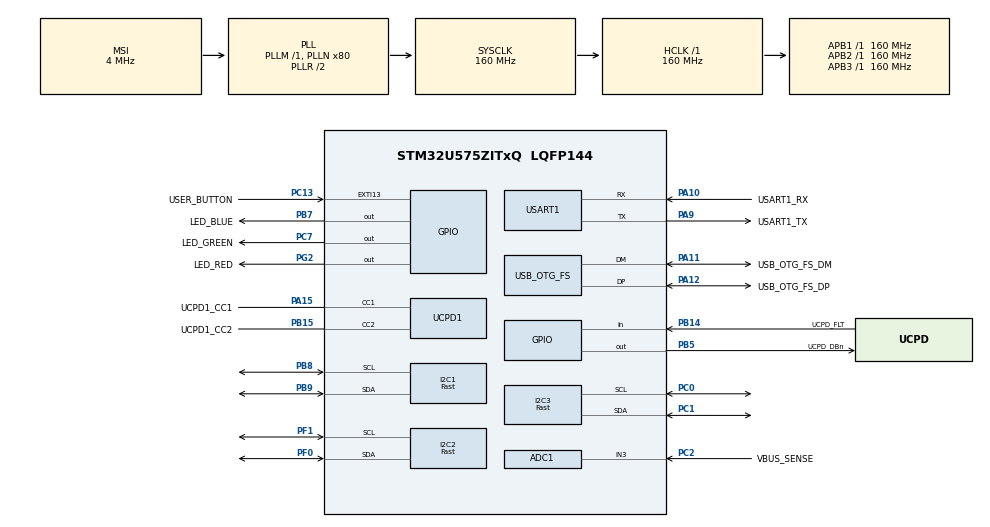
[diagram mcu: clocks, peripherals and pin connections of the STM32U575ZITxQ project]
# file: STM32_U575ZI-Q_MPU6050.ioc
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ADC1.NbrOfConversion=1
ADC1.Resolution=ADC_RESOLUTION_14B
ADC1.master=1
CORTEX_M33_NS.AccessPermission-Cortex_Memory_Protection_Unit_Region0_Settings=MPU_REGION_ALL_RW
CORTEX_M33_NS.AttributesIndex-Cortex_Memory_Protection_Unit_Region0_Settings=MPU_ATTRIBUTES_NUMBER1
CORTEX_M33_NS.BaseAddress-Cortex_Memory_Protection_Unit_Region0_Settings=0x28000000
CORTEX_M33_NS.DisableExec-Cortex_Memory_Protection_Unit_Region0_Settings=MPU_INSTRUCTION_ACCESS_DISABLE
CORTEX_M33_NS.Enable-Cortex_Memory_Protection_Unit_Region0_Settings=MPU_REGION_ENABLE
CORTEX_M33_NS.LimitAddress-Cortex_Memory_Protection_Unit_Region0_Settings=0x28003fff
CORTEX_M33_NS.MPU_Control=MPU_PRIVILEGED_DEFAULT
CORTEX_M33_NS.userName=CORTEX_M33
GPDMA1.DESTINC_GPDMACH0=DMA_DINC_INCREMENTED
GPDMA1.DESTINC_GPDMACH1=DMA_DINC_INCREMENTED
GPDMA1.DESTINC_GPDMACH2=DMA_DINC_INCREMENTED
GPDMA1.IPHANDLE_GPDMACH0-SIMPLEREQUEST_GPDMACH0=__NULL
GPDMA1.IPHANDLE_GPDMACH1-SIMPLEREQUEST_GPDMACH1=__NULL
GPDMA1.IPHANDLE_GPDMACH2-SIMPLEREQUEST_GPDMACH2=__NULL
GPDMA1.REQUEST_GPDMACH0=GPDMA1_REQUEST_I2C2_RX
GPDMA1.REQUEST_GPDMACH1=GPDMA1_REQUEST_I2C3_RX
GPDMA1.REQUEST_GPDMACH2=GPDMA1_REQUEST_I2C1_RX
I2C1.I2C_Speed_Mode=I2C_Fast
I2C1.Timing=0x00F07BFF
I2C2.I2C_Speed_Mode=I2C_Fast
I2C2.Timing=0x00F07BFF
I2C3.I2C_Speed_Mode=I2C_Fast
I2C3.Timing=0x00F07BFF
Mcu.Family=STM32U5
Mcu.Name=STM32U575ZITxQ
Mcu.Package=LQFP144
NVIC.GPDMA1_Channel0_IRQn=true\:0\:0\:false\:false\:true\:false\:true\:true
NVIC.GPDMA1_Channel1_IRQn=true\:0\:0\:false\:false\:true\:false\:true\:true
NVIC.GPDMA1_Channel2_IRQn=true\:0\:0\:false\:false\:true\:false\:true\:true
NVIC.I2C1_EV_IRQn=true\:0\:0\:false\:false\:true\:true\:true\:true
NVIC.I2C2_EV_IRQn=true\:0\:0\:false\:false\:true\:true\:true\:true
NVIC.I2C3_EV_IRQn=true\:0\:0\:false\:false\:true\:true\:true\:true
NVIC.OTG_FS_IRQn=true\:0\:0\:false\:false\:true\:true\:true\:true
NVIC.PriorityGroup=NVIC_PRIORITYGROUP_3
NVIC.TIM1_UP_IRQn=true\:0\:0\:false\:false\:true\:true\:true\:true
PA10.GPIO_Label=USART1_RX
PA10.GPIO_PuPd=GPIO_PULLDOWN
PA10.GPIO_Speed=GPIO_SPEED_FREQ_VERY_HIGH
PA10.Mode=Asynchronous
PA10.Signal=USART1_RX
PA11.GPIO_Label=USB_OTG_FS_DM
PA11.GPIO_Speed=GPIO_SPEED_FREQ_VERY_HIGH
PA11.Mode=Device_Only
PA11.Signal=USB_OTG_FS_DM
PA12.GPIO_Label=USB_OTG_FS_DP
PA12.GPIO_Speed=GPIO_SPEED_FREQ_VERY_HIGH
PA12.Mode=Device_Only
PA12.Signal=USB_OTG_FS_DP
PA13\ (JTMS/SWDIO).Mode=Trace_Asynchronous_SW
PA13\ (JTMS/SWDIO).Signal=DEBUG_JTMS-SWDIO
PA14\ (JTCK/SWCLK).Mode=Trace_Asynchronous_SW
PA14\ (JTCK/SWCLK).Signal=DEBUG_JTCK-SWCLK
PA15\ (JTDI).GPIO_Label=UCPD1_CC1
PA15\ (JTDI).Mode=Sink_AllSignals
PA15\ (JTDI).Signal=UCPD1_CC1
PA9.GPIO_Label=USART1_TX
PA9.GPIO_PuPd=GPIO_PULLDOWN
PA9.GPIO_Speed=GPIO_SPEED_FREQ_VERY_HIGH
PA9.Mode=Asynchronous
PA9.Signal=USART1_TX
PB14.GPIO_Label=UCPD_FLT
PB14.Signal=GPIO_Input
PB15.GPIO_Label=UCPD1_CC2
PB15.Mode=Sink_AllSignals
PB15.Signal=UCPD1_CC2
PB3\ (JTDO/TRACESWO).Mode=Trace_Asynchronous_SW
PB3\ (JTDO/TRACESWO).Signal=DEBUG_JTDO-SWO
PB5.GPIO_Label=UCPD_DBn
PB5.Signal=GPIO_Output
PB7.GPIO_Label=LED_BLUE
PB7.GPIO_ModeDefaultOutputPP=GPIO_MODE_OUTPUT_PP
PB7.GPIO_PuPd=GPIO_PULLUP
PB7.GPIO_Speed=GPIO_SPEED_FREQ_HIGH
PB7.Signal=GPIO_Output
PB8.Mode=I2C
PB8.Signal=I2C1_SCL
PB9.Mode=I2C
PB9.Signal=I2C1_SDA
PC0.Mode=I2C
PC0.Signal=I2C3_SCL
PC1.Mode=I2C
PC1.Signal=I2C3_SDA
PC13.GPIO_Label=USER_BUTTON
PC13.GPIO_ModeDefaultEXTI=GPIO_MODE_IT_FALLING
PC13.Signal=GPXTI13
PC14-OSC32_IN\ (PC14).Mode=LSE-External-Oscillator
PC14-OSC32_IN\ (PC14).Signal=RCC_OSC32_IN
PC15-OSC32_OUT\ (PC15).Mode=LSE-External-Oscillator
PC15-OSC32_OUT\ (PC15).Signal=RCC_OSC32_OUT
PC2.GPIO_Label=VBUS_SENSE
PC2.Mode=IN3-Single-Ended
PC2.Signal=ADC1_IN3
PC7.GPIO_Label=LED_GREEN
PC7.GPIO_PuPd=GPIO_PULLUP
PC7.GPIO_Speed=GPIO_SPEED_FREQ_HIGH
PC7.Signal=GPIO_Output
PF0.Mode=I2C
PF0.Signal=I2C2_SDA
PF1.Mode=I2C
PF1.Signal=I2C2_SCL
PG2.GPIO_Label=LED_RED
PG2.GPIO_ModeDefaultOutputPP=GPIO_MODE_OUTPUT_PP
PG2.GPIO_PuPd=GPIO_PULLUP
PG2.GPIO_Speed=GPIO_SPEED_FREQ_HIGH
PG2.Signal=GPIO_Output
PWR.PowerMode=PWR_SMPS_SUPPLY
ProjectManager.HeapSize=0x200
ProjectManager.StackSize=0x400
ProjectManager.TargetToolchain=STM32CubeIDE
RCC.ADCFreq_Value=16000000
RCC.AHBFreq_Value=160000000
RCC.APB1Freq_Value=160000000
RCC.APB1TimFreq_Value=160000000
RCC.APB2Freq_Value=160000000
RCC.APB2TimFreq_Value=160000000
RCC.APB3Freq_Value=160000000
RCC.CortexFreq_Value=160000000
RCC.DACCLockSelectionVirtual=RCC_DAC1CLKSOURCE_LSI
RCC.EPOD_VALUE=4000000
RCC.HCLKFreq_Value=160000000
RCC.HSE_VALUE=16000000
RCC.HSI48_VALUE=48000000
RCC.HSI_VALUE=16000000
RCC.LSIDIV_VALUE=32000
RCC.MSI_VALUE=4000000
RCC.PLLN=80
RCC.SYSCLKFreq_VALUE=160000000
RCC.SYSCLKSource=RCC_SYSCLKSOURCE_PLLCLK
RCC.USBFreq_Value=48000000
RCC.VCOOutputFreq_Value=320000000
TIM1.PeriodNoDither=1000-1
TIM1.Prescaler=160-1
USART1.VirtualMode-Asynchronous=VM_ASYNC
USB_OTG_FS.VirtualMode=Device_Only
VP_DCACHE1_VS_DCACHE.Mode=DCACHE_Activate
VP_FLASH_SIG_Activate_FlashIP.Mode=Activate_FlashIP
VP_GPDMA1_VS_GPDMACH0.Mode=SIMPLEREQUEST_GPDMACH0
VP_GPDMA1_VS_GPDMACH1.Mode=SIMPLEREQUEST_GPDMACH1
VP_GPDMA1_VS_GPDMACH2.Mode=SIMPLEREQUEST_GPDMACH2
VP_ICACHE_VS_ENABLE_ICACHE_MEMORY.Mode=Memoryregions
VP_ICACHE_VS_ICACHE.Mode=DirectMappedCache
VP_LPBAMQUEUE_VS_QUEUE.Mode=QUEUEMODE
VP_LPBAM_VS_SIG1.Mode=SmartRun
VP_LPBAM_VS_SIG4.Mode=LPDMA1
VP_MEMORYMAP_VS_MEMORYMAP.Mode=CurAppReg
VP_PWR_VS_DBSignals.Mode=DisableDeadBatterySignals
VP_PWR_VS_LPOM.Mode=PowerOptimisation
VP_PWR_VS_SECSignals.Mode=Security/Privilege
VP_PWR_Vdda.Mode=isolationVdda
VP_TIM1_VS_ClockSourceINT.Mode=Internal
board=NUCLEO-U575ZI-Q

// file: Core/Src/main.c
/* USER CODE BEGIN Header */
/**
  ******************************************************************************
  * @file           : main.c
  * @brief          : Main program body
  ******************************************************************************
  * @attention
  *
  * Copyright (c) 2024 STMicroelectronics.
  * All rights reserved.
  *
  * This software is licensed under terms that can be found in the LICENSE file
  * in the root directory of this software component.
  * If no LICENSE file comes with this software, it is provided AS-IS.
  *
  ******************************************************************************
  */
/* USER CODE END Header */
#include "main.h"
#include "adc.h"
#include "dcache.h"
#include "flash.h"
#include "gpdma.h"
#include "i2c.h"
#include "icache.h"
#include "memorymap.h"
#include "tim.h"
#include "ucpd.h"
#include "usart.h"
#include "usb_otg.h"
#include "gpio.h"

/* USER CODE BEGIN Includes */
#include "ioif_mpu6050.h"
#include "ioif_mpu6050_second.h"
#include "imu_algorithms.h"

#include "ioif_bmp280.h"
//#include "ioif_vl53l0x.h"

#include "VL53L0X.h"
/* USER CODE END Includes */

void SystemClock_Config(void);
static void SystemPower_Config(void);
static void MPU_Config(void);
/* USER CODE BEGIN PFP */

static void InitValueSetting(IMU_FuzzyData_t* imuFuzzyData, IMU_NormData_t* imuNormData, IMU_GaitData_t* imuGaitData, IMU_ThresData_t* imuThresData);
static void SetInitialAngle(IMU_AngleData_t* imuAngleData, IMU_NormData_t* imuNormData, float initialAngle);
static void GetInitialAngle_IMU(IOIF_6AxisData_t* imu6AxisData, IMU_SensorData_t* imuSensorData, IMU_AngleData_t* imuAngleData, IMU_NormData_t* imuNormData, IMU_AttachCase_t imuAttachCase);
static void GetInitialAngle_IMU2(IOIF_6AxisData2_t* imu6AxisData, IMU_SensorData_t* imuSensorData, IMU_AngleData_t* imuAngleData, IMU_NormData_t* imuNormData, IMU_AttachCase_t imuAttachCase);
static void ResetDataObj(void);
static void UpdateSensorRawData(IMU_SensorData_t* imuSensorData, IOIF_6AxisData_t* imu6AxisData, IMU_AttachCase_t imuAttachCase);
static void UpdateSensorRawData2(IMU_SensorData_t* imuSensorData, IOIF_6AxisData2_t* imu6AxisData, IMU_AttachCase_t imuAttachCase);
static void RunTvcfFilter(IMU_SensorData_t* imuSensorData, IMU_AngleData_t* imuAngleData, IMU_FuzzyData_t* imuFuzzyData, float samplingPeriod, IMU_AttachCase_t imuAttachCase);
static void SetUsedDegVel(IMU_AngleData_t* imuAngleData);
static int RunIMU(void);
static int RunTotalIMUAlgorithm(void);

/* USER CODE END PFP */

/* USER CODE BEGIN 0 */
IOIF_6AxisData_t 	mpu6050DataObj1;
IOIF_6AxisData2_t 	mpu6050DataObj2;

uint32_t codeTime = 0;				// microSecond

uint8_t err1 = 0;
uint8_t err2 = 0;
uint32_t errSum1 = 0;
uint32_t errSum2 = 0;
uint16_t msTime = 0;
uint32_t totalElapsedTime = 0;		// Second

/* For IMU Algorithms */
// For 1st IMU - I2C2 //
IMU_GaitData_t		imuGaitDataObj1;
IMU_AngleData_t 	imuAngleDataObj1;

static IMU_AttachCase_t ATTACH_CASE_SEL_1;

static IMU_SensorData_t 	imuSensorDataObj1;
static IMU_FuzzyData_t		imuFuzzyDataObj1;
static IMU_NormData_t 		imuNormDataObj1;
static IMU_ThresData_t		imuThresDataObj1;

static float wcDebug1 = 0.0;

static uint32_t breakRT = 0;
// For 2nd IMU - I2C3 //
IMU_GaitData_t		imuGaitDataObj2;
IMU_AngleData_t 	imuAngleDataObj2;

static IMU_AttachCase_t ATTACH_CASE_SEL_2;

static IMU_SensorData_t 	imuSensorDataObj2;
static IMU_FuzzyData_t		imuFuzzyDataObj2;
static IMU_NormData_t 		imuNormDataObj2;
static IMU_ThresData_t		imuThresDataObj2;

static float wcDebug2 = 0.0;

/* For BPS */
IOIF_BPSData_t bmp280DataObj;

/* For TOF */
//IOIF_TOFData_t vl53l0xDataObj;
uint16_t distance;

/* USER CODE END 0 */

int main(void)
{

  /* MCU Configuration--------------------------------------------------------*/

  /* Reset of all peripherals, Initializes the Flash interface and the Systick. */
   HAL_Init();

  /* MPU Configuration--------------------------------------------------------*/
  MPU_Config();

  /* Configure the system clock */
  SystemClock_Config();

  /* Configure the System Power */
  SystemPower_Config();

  /* Initialize all configured peripherals */
  MX_GPIO_Init();
  MX_GPDMA1_Init();
  MX_ICACHE_Init();
  MX_UCPD1_Init();
  MX_ADC1_Init();
  MX_USB_OTG_FS_PCD_Init();
  MX_DCACHE1_Init();
  MX_FLASH_Init();
  MX_I2C2_Init();
  MX_TIM1_Init();
  MX_USART1_UART_Init();
  MX_I2C3_Init();
  MX_I2C1_Init();
  /* USER CODE BEGIN 2 */

  CoreDebug->DEMCR &= ~CoreDebug_DEMCR_TRCENA_Msk;
  CoreDebug->DEMCR |= CoreDebug_DEMCR_TRCENA_Msk;
  DWT->CTRL &= ~DWT_CTRL_CYCCNTENA_Msk;
  DWT->CTRL |= DWT_CTRL_CYCCNTENA_Msk;
  DWT->CYCCNT = 0;

  /* Initialize the IMUs */
//  IOIF_Init6Axis(&hi2c2);
//  IOIF_Init6Axis2(&hi2c3);
//
//  /* For IMU Algorithms */
//  /* Initial Setting for the IMU */
//  ATTACH_CASE_SEL_1 = IMU_LEFT_SAGITAL;
//  ATTACH_CASE_SEL_2 = IMU_LEFT_SAGITAL;
//
//  /* Reset and Initial setting */
//  ResetDataObj();
//  InitValueSetting(&imuFuzzyDataObj1, &imuNormDataObj1, &imuGaitDataObj1, &imuThresDataObj1);
//  InitValueSetting(&imuFuzzyDataObj2, &imuNormDataObj2, &imuGaitDataObj2, &imuThresDataObj2);
//
//  /* Get initial angle at Standing state */
//  GetInitialAngle_IMU(&mpu6050DataObj1, &imuSensorDataObj1, &imuAngleDataObj1, &imuNormDataObj1, ATTACH_CASE_SEL_1);
//  GetInitialAngle_IMU2(&mpu6050DataObj2, &imuSensorDataObj2, &imuAngleDataObj2, &imuNormDataObj2, ATTACH_CASE_SEL_2);
  /* ------------------------------------------------------------------------------------------------------------------ */

  /* Initialize the BPS */
//  IOIF_InitBPS(&hi2c1);

  /* Initialize the TOF */
//  IOIF_InitTOF(&hi2c1);

  /* Using Open Source of TOF */
/*
   // Initialise the VL53L0X
   statInfo_t_VL53L0X distanceStr;
   initVL53L0X(1, &hi2c1);

	// Configure the sensor
	setSignalRateLimit(200);
	setVcselPulsePeriod(VcselPeriodPreRange, 10);
	setVcselPulsePeriod(VcselPeriodFinalRange, 14);
	setMeasurementTimingBudget(300 * 1000UL);
*/

  /* Start the TIMER INTERRUPT */
  HAL_TIM_Base_Start_IT(&htim1);

  /* USER CODE END 2 */

  /* Infinite loop */
  /* USER CODE BEGIN WHILE */
  while (1)
  {
//		distance = readRangeSingleMillimeters(&distanceStr);
    /* USER CODE END WHILE */

  }
}

void SystemClock_Config(void)
{
  RCC_OscInitTypeDef RCC_OscInitStruct = {0};
  RCC_ClkInitTypeDef RCC_ClkInitStruct = {0};

  /** Configure the main internal regulator output voltage
  */
  if (HAL_PWREx_ControlVoltageScaling(PWR_REGULATOR_VOLTAGE_SCALE1) != HAL_OK)
  {
    Error_Handler();
  }

  /** Initializes the CPU, AHB and APB buses clocks
  */
  RCC_OscInitStruct.OscillatorType = RCC_OSCILLATORTYPE_HSI48|RCC_OSCILLATORTYPE_HSI
                              |RCC_OSCILLATORTYPE_MSI;
  RCC_OscInitStruct.HSIState = RCC_HSI_ON;
  RCC_OscInitStruct.HSI48State = RCC_HSI48_ON;
  RCC_OscInitStruct.HSICalibrationValue = RCC_HSICALIBRATION_DEFAULT;
  RCC_OscInitStruct.MSIState = RCC_MSI_ON;
  RCC_OscInitStruct.MSICalibrationValue = RCC_MSICALIBRATION_DEFAULT;
  RCC_OscInitStruct.MSIClockRange = RCC_MSIRANGE_4;
  RCC_OscInitStruct.PLL.PLLState = RCC_PLL_ON;
  RCC_OscInitStruct.PLL.PLLSource = RCC_PLLSOURCE_MSI;
  RCC_OscInitStruct.PLL.PLLMBOOST = RCC_PLLMBOOST_DIV1;
  RCC_OscInitStruct.PLL.PLLM = 1;
  RCC_OscInitStruct.PLL.PLLN = 80;
  RCC_OscInitStruct.PLL.PLLP = 2;
  RCC_OscInitStruct.PLL.PLLQ = 2;
  RCC_OscInitStruct.PLL.PLLR = 2;
  RCC_OscInitStruct.PLL.PLLRGE = RCC_PLLVCIRANGE_0;
  RCC_OscInitStruct.PLL.PLLFRACN = 0;
  if (HAL_RCC_OscConfig(&RCC_OscInitStruct) != HAL_OK)
  {
    Error_Handler();
  }

  /** Initializes the CPU, AHB and APB buses clocks
  */
  RCC_ClkInitStruct.ClockType = RCC_CLOCKTYPE_HCLK|RCC_CLOCKTYPE_SYSCLK
                              |RCC_CLOCKTYPE_PCLK1|RCC_CLOCKTYPE_PCLK2
                              |RCC_CLOCKTYPE_PCLK3;
  RCC_ClkInitStruct.SYSCLKSource = RCC_SYSCLKSOURCE_PLLCLK;
  RCC_ClkInitStruct.AHBCLKDivider = RCC_SYSCLK_DIV1;
  RCC_ClkInitStruct.APB1CLKDivider = RCC_HCLK_DIV1;
  RCC_ClkInitStruct.APB2CLKDivider = RCC_HCLK_DIV1;
  RCC_ClkInitStruct.APB3CLKDivider = RCC_HCLK_DIV1;

  if (HAL_RCC_ClockConfig(&RCC_ClkInitStruct, FLASH_LATENCY_4) != HAL_OK)
  {
    Error_Handler();
  }
}

/**
  * @brief Power Configuration
  * @retval None
  */
static void SystemPower_Config(void)
{
  HAL_PWREx_EnableVddIO2();

  /*
   * Switch to SMPS regulator instead of LDO
   */
  if (HAL_PWREx_ConfigSupply(PWR_SMPS_SUPPLY) != HAL_OK)
  {
    Error_Handler();
  }
}

/* USER CODE BEGIN 4 */
void HAL_TIM_PeriodElapsedCallback(TIM_HandleTypeDef *htim)
{
	if (htim->Instance == htim1.Instance){

		CoreDebug->DEMCR |= CoreDebug_DEMCR_TRCENA_Msk;
		DWT->CYCCNT = 0;
		DWT->CTRL |= DWT_CTRL_CYCCNTENA_Msk;

		/* Choose the Function you want to RUN */
//		RunIMU();
//		RunTotalIMUAlgorithm();

		/* For BPS */
//		IOIF_GetBPSValue(&bmp280DataObj);

		/* For TOF */
//		IOIF_GetTOFValue(&vl53l0xDataObj);

		/* ----------------------------------- */

		if (msTime == 1000){
			msTime = 0;
			totalElapsedTime++;

//			IOIF_GetTOFValue(&vl53l0xDataObj);
		}

		/* Code End */
		codeTime = DWT->CYCCNT/160;
		msTime++;

		if (codeTime > 1000){
			breakRT++;
		}
	}
}

/* Private functions */

/* Setting for initial parameters */
static void InitValueSetting(IMU_FuzzyData_t* imuFuzzyData, IMU_NormData_t* imuNormData, IMU_GaitData_t* imuGaitData, IMU_ThresData_t* imuThresData)
{
	imuFuzzyData->wl 				= 0.5;
	imuFuzzyData->wh 				= 10.0;
	imuFuzzyData->var[0] 			= 8.0;
	imuFuzzyData->var[1] 			= 30.0;
	imuFuzzyData->var[2] 			= 5.8;
	imuFuzzyData->var[3] 			= 320.0;

	imuNormData->ampDeg 			= 30.0; 	//30
	imuNormData->ampDegLPF[0]		= 30.0;
	imuNormData->ampDegLPF[1]		= 30.0;

	imuNormData->ampVel 			= 400.0; 	//400
	imuNormData->ampVelLPF[0]		= 400.0;
	imuNormData->ampVelLPF[1]		= 400.0;

	imuGaitData->gaitPeriod 		= 1000;
	imuGaitData->gaitPhase 			= -100.0;
	imuGaitData->gaitPhasePre   	= -100.0;

	imuThresData->degThStart		= 12.0;
	imuThresData->velThStart		= 20.0;
	imuThresData->degThStop 		= 3.0;
	imuThresData->velThStop 		= 12.0;
}

/* Setting for Initial values of "angle" variables after get initial thigh angle */
static void SetInitialAngle(IMU_AngleData_t* imuAngleData, IMU_NormData_t* imuNormData, float initialAngle)
{
	imuAngleData->degAccFiltered 	= initialAngle;
	imuAngleData->degGyrFiltered	= 0.0;

	imuAngleData->degLPF1st[0] 		= initialAngle;
	imuAngleData->degLPF1st[1] 		= initialAngle;
	imuAngleData->degLPF2nd[0] 		= initialAngle;
	imuAngleData->degLPF2nd[1] 		= initialAngle;
	imuNormData->degOri 	 		= initialAngle;
}

/*
 *Function to calculate the initial thigh angle - IMU case
*/
static void GetInitialAngle_IMU(IOIF_6AxisData_t* imu6AxisData, IMU_SensorData_t* imuSensorData, IMU_AngleData_t* imuAngleData, IMU_NormData_t* imuNormData, IMU_AttachCase_t imuAttachCase)
{
	uint8_t tTotalSamples 	= 100;
	uint8_t tDataCheck_IMU	= 0;
	uint8_t tRealSamples	= 0;
	float tAccumulatedAngle = 0.0;
	float tInitThighAngle	= 0.0;
	float tImuAngle			= 0.0;

	for (uint8_t i = 1; i <= tTotalSamples; i++) {
        for (uint16_t j = 0; j < 30000; j++) {
        	// For delay of DMA reading
        }

        tDataCheck_IMU = IOIF_Get6AxisValue(imu6AxisData);

        if (tDataCheck_IMU == 0){
        	imuSensorData->accX[0] = imu6AxisData->accX;
        	imuSensorData->accY[0] = imu6AxisData->accY;
        	imuSensorData->gyrZ[0] = imu6AxisData->gyrZ;

            tImuAngle = IMU_AttachCaseSetting(imuSensorData, imuAttachCase);
            tAccumulatedAngle += tImuAngle;

            tRealSamples++;
        }
    }

	tInitThighAngle = tAccumulatedAngle / tRealSamples;
	imuAngleData->initAngle = tInitThighAngle;
    SetInitialAngle(imuAngleData, imuNormData, tInitThighAngle);
}

/*
 *Function to calculate the initial thigh angle - IMU case
*/
static void GetInitialAngle_IMU2(IOIF_6AxisData2_t* imu6AxisData, IMU_SensorData_t* imuSensorData, IMU_AngleData_t* imuAngleData, IMU_NormData_t* imuNormData, IMU_AttachCase_t imuAttachCase)
{
	uint8_t tTotalSamples 	= 100;
	uint8_t tDataCheck_IMU	= 0;
	uint8_t tRealSamples	= 0;
	float tAccumulatedAngle = 0.0;
	float tInitThighAngle	= 0.0;
	float tImuAngle			= 0.0;

	for (uint8_t i = 1; i <= tTotalSamples; i++) {
        for (uint16_t j = 0; j < 30000; j++) {
        	// For delay of DMA reading
        }

        tDataCheck_IMU = IOIF_Get6AxisValue2(imu6AxisData);

        if (tDataCheck_IMU == 0){
        	imuSensorData->accX[0] = imu6AxisData->accX;
        	imuSensorData->accY[0] = imu6AxisData->accY;
        	imuSensorData->gyrZ[0] = imu6AxisData->gyrZ;

            tImuAngle = IMU_AttachCaseSetting(imuSensorData, imuAttachCase);
            tAccumulatedAngle += tImuAngle;

            tRealSamples++;
        }
    }

	tInitThighAngle = tAccumulatedAngle / tRealSamples;
	imuAngleData->initAngle = tInitThighAngle;
    SetInitialAngle(imuAngleData, imuNormData, tInitThighAngle);
}

static void ResetDataObj(void)
{
	imuSensorDataObj1 		= 	(IMU_SensorData_t){0};
	imuFuzzyDataObj1 		= 	(IMU_FuzzyData_t){0};
	imuAngleDataObj1		=   (IMU_AngleData_t){0};
	imuNormDataObj1 		= 	(IMU_NormData_t){0};
	imuGaitDataObj1 		= 	(IMU_GaitData_t){0};
	imuThresDataObj1 		= 	(IMU_ThresData_t){0};
	wcDebug1					= 	0.0;

	imuSensorDataObj2 		= 	(IMU_SensorData_t){0};
	imuFuzzyDataObj2 		= 	(IMU_FuzzyData_t){0};
	imuAngleDataObj2		=   (IMU_AngleData_t){0};
	imuNormDataObj2 		= 	(IMU_NormData_t){0};
	imuGaitDataObj2 		= 	(IMU_GaitData_t){0};
	imuThresDataObj2 		= 	(IMU_ThresData_t){0};
	wcDebug2					= 	0.0;
}

/*
*The function UpdateSensorRawData updates the IMU raw values.
*/
static void UpdateSensorRawData(IMU_SensorData_t* imuSensorData, IOIF_6AxisData_t* imu6AxisData, IMU_AttachCase_t imuAttachCase)
{
	imuSensorData->accX[0] = imu6AxisData->accX;
	imuSensorData->accY[0] = imu6AxisData->accY;
	imuSensorData->gyrZ[0] = imu6AxisData->gyrZ;

	if (imuAttachCase == IMU_LEFT_SAGITAL){
		imuSensorData->gyrZ[0] = (-1) * (imu6AxisData->gyrZ); 			// For Negative Gyro case (Maybe LEFT case)
	}
	else if (imuAttachCase == IMU_RIGHT_SAGITAL){
		imuSensorData->gyrZ[0] = imu6AxisData->gyrZ; 					// For Positive Gyro case (Maybe RIGHT case)
	}
}

/*
*The function UpdateSensorRawData updates the IMU raw values.
*/
static void UpdateSensorRawData2(IMU_SensorData_t* imuSensorData, IOIF_6AxisData2_t* imu6AxisData, IMU_AttachCase_t imuAttachCase)
{
	imuSensorData->accX[0] = imu6AxisData->accX;
	imuSensorData->accY[0] = imu6AxisData->accY;
	imuSensorData->gyrZ[0] = imu6AxisData->gyrZ;

	if (imuAttachCase == IMU_LEFT_SAGITAL){
		imuSensorData->gyrZ[0] = (-1) * (imu6AxisData->gyrZ); 			// For Negative Gyro case (Maybe LEFT case)
	}
	else if (imuAttachCase == IMU_RIGHT_SAGITAL){
		imuSensorData->gyrZ[0] = imu6AxisData->gyrZ; 					// For Positive Gyro case (Maybe RIGHT case)
	}
}

/*
 *Function to execute the time-varying complementary filter (with Fuzzy Logic - wc)
*/
static void RunTvcfFilter(IMU_SensorData_t* imuSensorData, IMU_AngleData_t* imuAngleData, IMU_FuzzyData_t* imuFuzzyData, float samplingPeriod, IMU_AttachCase_t imuAttachCase)
{
	/* Apply time-varying complementary filter on the sensor data using fuzzy logic(wc) and update the thigh angle parameters */
	IMU_RunTVCF(imuSensorData, imuAngleData, imuFuzzyData->wc, samplingPeriod, imuAttachCase);

	/* Update the unfiltered thigh angle to be the same as the filtered thigh angle */
	imuAngleData->degTvcf[0] = imuAngleData->degTvcfFiltered;
	imuAngleData->velRaw[0] = (imuAngleData->degTvcf[0] - imuAngleData->degTvcf[1]) / IMU_CONTROL_PERIOD;
}

/*
 *Function to select finally used deg&vel value before filtering
*/
static void SetUsedDegVel(IMU_AngleData_t* imuAngleData)
{
	imuAngleData->degFinal = imuAngleData->degTvcf[0] - imuAngleData->initAngle;
	imuAngleData->velFinal = imuAngleData->velRaw[0];
}

/* Total Algorithm Function */
static int RunIMU(void)
{
	err1 = IOIF_Get6AxisValue(&mpu6050DataObj1);
	err2 = IOIF_Get6AxisValue2(&mpu6050DataObj2);

	if (err1 != 0){
		errSum1++;
	}
	if (err2 != 0){
		errSum2++;
	}

	return 0;
}

static int RunTotalIMUAlgorithm(void)
{
	IMU_UpdateBuffer(&imuSensorDataObj1, &imuAngleDataObj1, &imuGaitDataObj1, &imuNormDataObj1);
	IMU_UpdateBuffer(&imuSensorDataObj2, &imuAngleDataObj2, &imuGaitDataObj2, &imuNormDataObj2);

	err1 = IOIF_Get6AxisValue(&mpu6050DataObj1);
	err2 = IOIF_Get6AxisValue2(&mpu6050DataObj2);
	if (err1 != 0){
		errSum1++;
	}
	if (err2 != 0){
		errSum2++;
	}

	UpdateSensorRawData(&imuSensorDataObj1, &mpu6050DataObj1, ATTACH_CASE_SEL_1);
	UpdateSensorRawData2(&imuSensorDataObj2, &mpu6050DataObj2, ATTACH_CASE_SEL_2);

	IMU_CalculateFuzzyInput(&imuSensorDataObj1, &imuFuzzyDataObj1);
	IMU_CalculateFuzzyInput(&imuSensorDataObj2, &imuFuzzyDataObj2);

	wcDebug1 = IMU_CalculateFuzzyWc(&imuFuzzyDataObj1);
	wcDebug2 = IMU_CalculateFuzzyWc(&imuFuzzyDataObj2);

	RunTvcfFilter(&imuSensorDataObj1, &imuAngleDataObj1, &imuFuzzyDataObj1, IMU_CONTROL_PERIOD, ATTACH_CASE_SEL_1);
	RunTvcfFilter(&imuSensorDataObj2, &imuAngleDataObj2, &imuFuzzyDataObj2, IMU_CONTROL_PERIOD, ATTACH_CASE_SEL_2);

	SetUsedDegVel(&imuAngleDataObj1);
	SetUsedDegVel(&imuAngleDataObj2);

	return 0;
}

/* End of Private Functions */
/* USER CODE END 4 */

/* MPU Configuration */

void MPU_Config(void)
{
  MPU_Region_InitTypeDef MPU_InitStruct = {0};
  MPU_Attributes_InitTypeDef MPU_AttributesInit = {0};

  /* Disables the MPU */
  HAL_MPU_Disable();

  /** Initializes and configures the Region and the memory to be protected
  */
  MPU_InitStruct.Enable = MPU_REGION_ENABLE;
  MPU_InitStruct.Number = MPU_REGION_NUMBER0;
  MPU_InitStruct.BaseAddress = 0x28000000;
  MPU_InitStruct.LimitAddress = 0x28003fff;
  MPU_InitStruct.AttributesIndex = MPU_ATTRIBUTES_NUMBER1;
  MPU_InitStruct.AccessPermission = MPU_REGION_ALL_RW;
  MPU_InitStruct.DisableExec = MPU_INSTRUCTION_ACCESS_DISABLE;
  MPU_InitStruct.IsShareable = MPU_ACCESS_NOT_SHAREABLE;

  HAL_MPU_ConfigRegion(&MPU_InitStruct);
  MPU_AttributesInit.Number = MPU_REGION_NUMBER0;
  MPU_AttributesInit.Attributes = MPU_DEVICE_nGnRnE | MPU_WRITE_THROUGH
                              | MPU_TRANSIENT | MPU_NO_ALLOCATE;

  HAL_MPU_ConfigMemoryAttributes(&MPU_AttributesInit);
  /* Enables the MPU */
  HAL_MPU_Enable(MPU_PRIVILEGED_DEFAULT);

}

void Error_Handler(void)
{
  __disable_irq();
  while (1)
  {
  }
}
